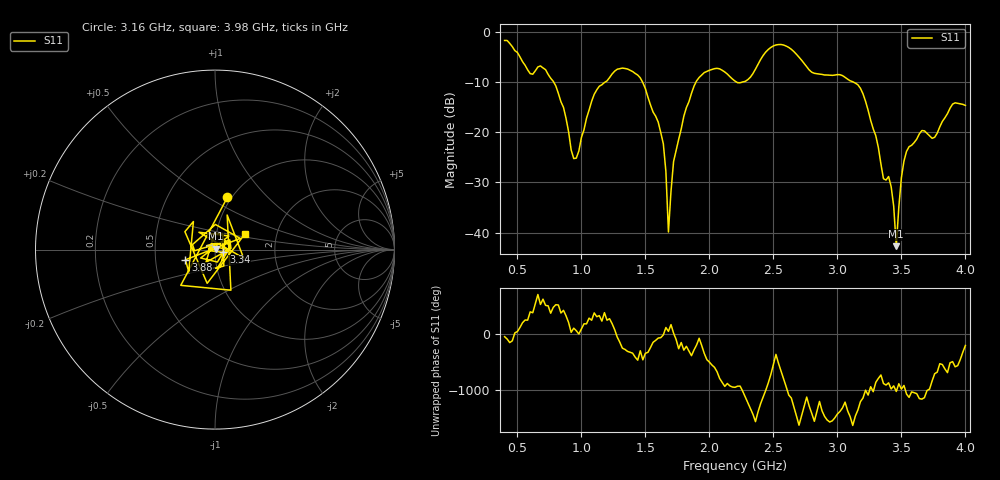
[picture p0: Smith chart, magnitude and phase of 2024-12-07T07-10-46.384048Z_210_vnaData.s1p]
!Created with skrf (http://scikit-rf.org).
# Hz S RI R 50.0
!freq ReS11 ImS11
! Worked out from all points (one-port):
!   181 points, 400 MHz to 4 GHz, reference 50 ohm
!   lowest |S11| = -42.7 dB at 3.46 GHz (marker M1), VSWR 1.01, Z = 50.5 + j0.551 ohm
!   |S11| at or under -10 dB: 784.6 MHz to 1.182 GHz (397.6 MHz wide, 40.4 % of centre); 1.479 GHz to 1.894 GHz (415.7 MHz wide, 24.7 % of centre); 3.129 GHz to end of sweep (the widest 3 of 4)
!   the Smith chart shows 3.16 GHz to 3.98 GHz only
!   S11 on the Smith chart (normalised r, x): 3.16 GHz: 0.96, +0.61; 3.34 GHz: 1.10, -0.03; 3.88 GHz: 0.71, -0.08; 3.98 GHz: 1.38, +0.26
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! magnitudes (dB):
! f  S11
! 400 MHz  -1.6
! 600 MHz  -8.3
! 720 MHz  -7.5
! 860 MHz  -15.0
! 960 MHz  -25.1
! 1.1 GHz  -12.4
! 1.3 GHz  -7.3
! 1.46 GHz  -9.1
! 1.6 GHz  -17.9
! 1.64 GHz  -22.3
! 1.66 GHz  -27.8
! 1.68 GHz  -39.9
! 1.72 GHz  -25.8
! 1.76 GHz  -21.4
! 1.92 GHz  -9.0
! 2.2 GHz  -9.8
! 2.5 GHz  -2.7
! 2.66 GHz  -3.9
! 3.1 GHz  -9.7
! 3.16 GHz  -10.5
! 3.34 GHz  -26.3
! 3.42 GHz  -30.8
! 3.46 GHz  -42.7
! 3.5 GHz  -29.0
! 3.56 GHz  -22.9
! 3.88 GHz  -15.2
! 3.98 GHz  -14.4
! 4 GHz  -14.6
